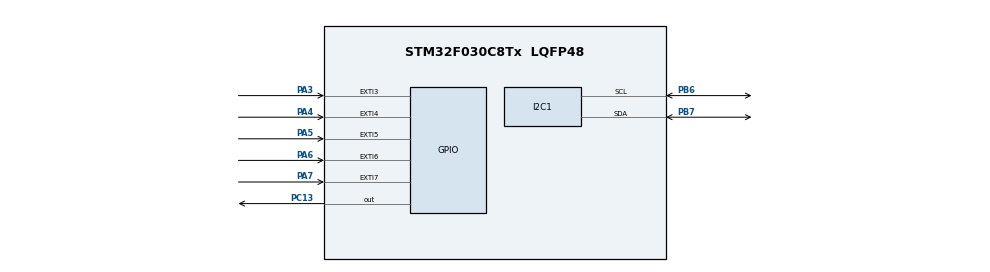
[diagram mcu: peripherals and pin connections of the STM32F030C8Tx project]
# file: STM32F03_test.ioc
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I2C1.Timing=0x00201D2B
Mcu.Family=STM32F0
Mcu.Name=STM32F030C8Tx
Mcu.Package=LQFP48
NVIC.EXTI2_3_IRQn=true\:0\:0\:false\:false\:true\:true\:true\:true
NVIC.EXTI4_15_IRQn=true\:0\:0\:false\:false\:true\:true\:true\:true
NVIC.TIM6_IRQn=true\:0\:0\:false\:false\:true\:true\:true\:true
PA13.Mode=Serial_Wire
PA13.Signal=SYS_SWDIO
PA14.Mode=Serial_Wire
PA14.Signal=SYS_SWCLK
PA3.GPIO_ModeDefaultEXTI=GPIO_MODE_IT_FALLING
PA3.Signal=GPXTI3
PA4.GPIO_ModeDefaultEXTI=GPIO_MODE_IT_FALLING
PA4.Signal=GPXTI4
PA5.GPIO_ModeDefaultEXTI=GPIO_MODE_IT_FALLING
PA5.GPIO_PuPd=GPIO_NOPULL
PA5.Signal=GPXTI5
PA6.GPIO_ModeDefaultEXTI=GPIO_MODE_IT_FALLING
PA6.GPIO_PuPd=GPIO_NOPULL
PA6.Signal=GPXTI6
PA7.GPIO_ModeDefaultEXTI=GPIO_MODE_IT_RISING_FALLING
PA7.GPIO_PuPd=GPIO_NOPULL
PA7.Signal=GPXTI7
PB6.GPIO_Pu=GPIO_PULLUP
PB6.Mode=I2C
PB6.Signal=I2C1_SCL
PB7.GPIO_Pu=GPIO_PULLUP
PB7.Mode=I2C
PB7.Signal=I2C1_SDA
PC13.Signal=GPIO_Output
ProjectManager.HeapSize=0x200
ProjectManager.StackSize=0x400
ProjectManager.TargetToolchain=STM32CubeIDE
TIM6.AutoReloadPreload=TIM_AUTORELOAD_PRELOAD_DISABLE
TIM6.Period=999
TIM6.Prescaler=7999
VP_TIM6_VS_ClockSourceINT.Mode=Enable_Timer
board=custom

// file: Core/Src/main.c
/* USER CODE BEGIN Header */
/**
  ******************************************************************************
  * @file           : main.c
  * @brief          : Main program body
  ******************************************************************************
  * @attention
  *
  * Copyright (c) 2025 STMicroelectronics.
  * All rights reserved.
  *
  * This software is licensed under terms that can be found in the LICENSE file
  * in the root directory of this software component.
  * If no LICENSE file comes with this software, it is provided AS-IS.
  *
  ******************************************************************************
  */
/* USER CODE END Header */
#include "main.h"

/* USER CODE BEGIN PTD */
typedef enum {CONFIG, READYTOPLAY, PLAY, FINISH} gameStatus_TypeDef;
typedef enum {LEFT, RIGHT} gamePlayer_TypeDef;
typedef enum {ColLeftMin = 3, ColLeftSec = 6, ColRightMin = 10, ColRightSec = 13} CursorCol_TypeDef;

/* USER CODE END PTD */

/* USER CODE BEGIN PD */
#define DEBOUNCE_MS 10 // ms

/* USER CODE END PD */

I2C_HandleTypeDef hi2c1;

TIM_HandleTypeDef htim6;

/* USER CODE BEGIN PV */
static uint8_t LCD_ADR = 0x3E << 1;

gameStatus_TypeDef gameStatus = CONFIG;
gamePlayer_TypeDef gamePlayer = LEFT;
CursorCol_TypeDef cursorCol = ColLeftMin;

 int minLeft = 5;
 int secLeft = 0;

 int minRight = 5;
 int secRight = 0;

 int timeLeft;
 int timeRight;

 uint8_t textLCD[] =            "  00:00  00:00  ";
 uint8_t textLCDConfig[] = 		"  Adjust time   ";
 uint8_t textLCDReadytoPlay[] = " Ready to play  ";
 uint8_t textLCDPlaying[] = 	"    Playing     ";

 uint8_t textLCDWinL[] =        "  Won    Lost   ";
 uint8_t textLCDWinR[] =        "  Lost   Won    ";

char temp[5];

/* USER CODE END PV */

void SystemClock_Config(void);
static void MX_GPIO_Init(void);
static void MX_I2C1_Init(void);
static void MX_TIM6_Init(void);
/* USER CODE BEGIN PFP */
void LCDInit(void);
void LCDInitConfig(void);

void LCDClear(void);
void LCDSetCursor(uint8_t col, uint8_t row);
void LCDPrintStr(uint8_t *str, uint8_t len);
void LCDBlinkOn(void);
void LCDBlinkOff(void);

/* USER CODE END PFP */

int main(void)
{

  /* MCU Configuration--------------------------------------------------------*/

  /* Reset of all peripherals, Initializes the Flash interface and the Systick. */
  HAL_Init();

  /* Configure the system clock */
  SystemClock_Config();

  /* Initialize all configured peripherals */
  MX_GPIO_Init();
  MX_I2C1_Init();
  MX_TIM6_Init();

  /* Infinite loop */
  /* USER CODE BEGIN WHILE */

  timeLeft = minLeft*60 + secLeft;
  timeRight = minRight*60 + secRight;

  HAL_TIM_Base_Start_IT(&htim6);

  LCDInit();
  LCDSetCursor(cursorCol, 0);

  while (1)
  {
	//HAL_GPIO_TogglePin(GPIOC, GPIO_PIN_13);
	//HAL_Delay(1000);

	if(gameStatus == CONFIG){
		timeLeft = minLeft*60 + secLeft;
		timeRight = minRight*60 + secRight;
	}

	sprintf(textLCD, "  %02d:%02d  %02d:%02d  ", timeLeft / 60, timeLeft % 60, timeRight / 60, timeRight % 60);
	//memcpy(&textLCD[2], temp, 5);

	//sprintf(temp, "%02d:%02d", timeRight / 60, timeRight % 60);
	//memcpy(&textLCD[9], temp, 5);

	  LCDClear();
	  LCDInit();

	  LCDSetCursor(0, 0);
	  LCDPrintStr(textLCD, 16);

	  if(gameStatus == READYTOPLAY){
		  LCDSetCursor(0, 1);
		  LCDPrintStr(textLCDReadytoPlay, 16);
	  }

	  if(gameStatus == FINISH && timeLeft == 0 && timeRight != 0){
		  LCDSetCursor(0, 1);
		  LCDPrintStr(textLCDWinR, 16);
	  }

	  if(gameStatus == FINISH && timeRight == 0 && timeLeft != 0){
		  LCDSetCursor(0, 1);
		  LCDPrintStr(textLCDWinL, 16);
	  }

	  if(gameStatus == CONFIG){
		  LCDSetCursor(0, 1);
		  LCDPrintStr(textLCDConfig, 16);
	  }

	  if(gameStatus == PLAY){
		  LCDSetCursor(0, 1);
		  LCDPrintStr(textLCDPlaying, 16);
	  }

	  if(gameStatus == CONFIG) LCDBlinkOn();
	  	  else LCDBlinkOff();

	  LCDSetCursor(cursorCol, 0);

	  HAL_Delay(500);

    /* USER CODE END WHILE */

  }
}

void SystemClock_Config(void)
{
  RCC_OscInitTypeDef RCC_OscInitStruct = {0};
  RCC_ClkInitTypeDef RCC_ClkInitStruct = {0};
  RCC_PeriphCLKInitTypeDef PeriphClkInit = {0};

  /** Initializes the RCC Oscillators according to the specified parameters
  * in the RCC_OscInitTypeDef structure.
  */
  RCC_OscInitStruct.OscillatorType = RCC_OSCILLATORTYPE_HSI;
  RCC_OscInitStruct.HSIState = RCC_HSI_ON;
  RCC_OscInitStruct.HSICalibrationValue = RCC_HSICALIBRATION_DEFAULT;
  RCC_OscInitStruct.PLL.PLLState = RCC_PLL_NONE;
  if (HAL_RCC_OscConfig(&RCC_OscInitStruct) != HAL_OK)
  {
    Error_Handler();
  }

  /** Initializes the CPU, AHB and APB buses clocks
  */
  RCC_ClkInitStruct.ClockType = RCC_CLOCKTYPE_HCLK|RCC_CLOCKTYPE_SYSCLK
                              |RCC_CLOCKTYPE_PCLK1;
  RCC_ClkInitStruct.SYSCLKSource = RCC_SYSCLKSOURCE_HSI;
  RCC_ClkInitStruct.AHBCLKDivider = RCC_SYSCLK_DIV1;
  RCC_ClkInitStruct.APB1CLKDivider = RCC_HCLK_DIV1;

  if (HAL_RCC_ClockConfig(&RCC_ClkInitStruct, FLASH_LATENCY_0) != HAL_OK)
  {
    Error_Handler();
  }
  PeriphClkInit.PeriphClockSelection = RCC_PERIPHCLK_I2C1;
  PeriphClkInit.I2c1ClockSelection = RCC_I2C1CLKSOURCE_HSI;
  if (HAL_RCCEx_PeriphCLKConfig(&PeriphClkInit) != HAL_OK)
  {
    Error_Handler();
  }
}

static void MX_I2C1_Init(void)
{

  hi2c1.Instance = I2C1;
  hi2c1.Init.Timing = 0x00201D2B;
  hi2c1.Init.OwnAddress1 = 0;
  hi2c1.Init.AddressingMode = I2C_ADDRESSINGMODE_7BIT;
  hi2c1.Init.DualAddressMode = I2C_DUALADDRESS_DISABLE;
  hi2c1.Init.OwnAddress2 = 0;
  hi2c1.Init.OwnAddress2Masks = I2C_OA2_NOMASK;
  hi2c1.Init.GeneralCallMode = I2C_GENERALCALL_DISABLE;
  hi2c1.Init.NoStretchMode = I2C_NOSTRETCH_DISABLE;
  if (HAL_I2C_Init(&hi2c1) != HAL_OK)
  {
    Error_Handler();
  }

  /** Configure Analogue filter
  */
  if (HAL_I2CEx_ConfigAnalogFilter(&hi2c1, I2C_ANALOGFILTER_ENABLE) != HAL_OK)
  {
    Error_Handler();
  }

  /** Configure Digital filter
  */
  if (HAL_I2CEx_ConfigDigitalFilter(&hi2c1, 0) != HAL_OK)
  {
    Error_Handler();
  }

}

static void MX_TIM6_Init(void)
{

  htim6.Instance = TIM6;
  htim6.Init.Prescaler = 7999;
  htim6.Init.CounterMode = TIM_COUNTERMODE_UP;
  htim6.Init.Period = 999;
  htim6.Init.AutoReloadPreload = TIM_AUTORELOAD_PRELOAD_DISABLE;
  if (HAL_TIM_Base_Init(&htim6) != HAL_OK)
  {
    Error_Handler();
  }

}

static void MX_GPIO_Init(void)
{
  GPIO_InitTypeDef GPIO_InitStruct = {0};

  /* GPIO Ports Clock Enable */
  __HAL_RCC_GPIOC_CLK_ENABLE();
  __HAL_RCC_GPIOA_CLK_ENABLE();
  __HAL_RCC_GPIOB_CLK_ENABLE();

  /*Configure GPIO pin Output Level */
  HAL_GPIO_WritePin(GPIOC, GPIO_PIN_13, GPIO_PIN_RESET);

  /*Configure GPIO pin : PC13 */
  GPIO_InitStruct.Pin = GPIO_PIN_13;
  GPIO_InitStruct.Mode = GPIO_MODE_OUTPUT_PP;
  GPIO_InitStruct.Pull = GPIO_NOPULL;
  GPIO_InitStruct.Speed = GPIO_SPEED_FREQ_LOW;
  HAL_GPIO_Init(GPIOC, &GPIO_InitStruct);

  /*Configure GPIO pins : PA3 PA4 PA5 PA6 */
  GPIO_InitStruct.Pin = GPIO_PIN_3|GPIO_PIN_4|GPIO_PIN_5|GPIO_PIN_6;
  GPIO_InitStruct.Mode = GPIO_MODE_IT_FALLING;
  GPIO_InitStruct.Pull = GPIO_NOPULL;
  HAL_GPIO_Init(GPIOA, &GPIO_InitStruct);

  /*Configure GPIO pin : PA7 */
  GPIO_InitStruct.Pin = GPIO_PIN_7;
  GPIO_InitStruct.Mode = GPIO_MODE_IT_RISING_FALLING;
  GPIO_InitStruct.Pull = GPIO_NOPULL;
  HAL_GPIO_Init(GPIOA, &GPIO_InitStruct);

  /* EXTI interrupt init*/
  HAL_NVIC_SetPriority(EXTI2_3_IRQn, 0, 0);
  HAL_NVIC_EnableIRQ(EXTI2_3_IRQn);

  HAL_NVIC_SetPriority(EXTI4_15_IRQn, 0, 0);
  HAL_NVIC_EnableIRQ(EXTI4_15_IRQn);

}

/* USER CODE BEGIN 4 */
void LCDInit(){
	uint8_t arr[2];
	arr[0]=0;

	arr[1]=0xC;
	HAL_I2C_Master_Transmit(&hi2c1,LCD_ADR,arr,2,1000); //Sending in Blocking mode

	arr[1]=0x3F;
	HAL_I2C_Master_Transmit(&hi2c1,LCD_ADR,arr,2,1000); //Sending in Blocking mode

}

void LCDInitConfig(){
	uint8_t arr[2];
	arr[0]=0;

	arr[1]=0xF;
	HAL_I2C_Master_Transmit(&hi2c1,LCD_ADR,arr,2,1000); //Sending in Blocking mode

	arr[1]=0x3F;
	HAL_I2C_Master_Transmit(&hi2c1,LCD_ADR,arr,2,1000); //Sending in Blocking mode

}

void LCDBlinkOn(void) {
    uint8_t arr[2];
    arr[0] = 0x00;    // control byte: command
    arr[1] = 0x0E;    // Display ON, Cursor ON, Blink ON
    HAL_I2C_Master_Transmit(&hi2c1, LCD_ADR, arr, 2, 1000);
}

void LCDBlinkOff(void) {
    uint8_t arr[2];
    arr[0] = 0x00;    // command
    arr[1] = 0x0C;    // Display ON, Cursor OFF, Blink OFF
    HAL_I2C_Master_Transmit(&hi2c1, LCD_ADR, arr, 2, 1000);
}

void LCDClear(void){
	  uint8_t arr[2];
		arr[0]=0x0;
		arr[1]=0x1;
		HAL_I2C_Master_Transmit(&hi2c1,LCD_ADR,arr,2,1000); //Sending in Blocking mode

}

void LCDSetCursor(uint8_t col, uint8_t row) {

    uint8_t arr[2];
    col = (row == 0 ? col | 0x80 : col | 0xc0);
		arr[0]=0x80;
		arr[1]=col;
		HAL_I2C_Master_Transmit(&hi2c1,LCD_ADR,arr,2,1000); //Sending in Blocking mode
}

void LCDPrintStr(uint8_t *str, uint8_t len){

	uint8_t arr[2];
	uint8_t i;
	arr[0]=0x40;

	for(i=0;i<len;i++){
		arr[1]=str[i];
		HAL_I2C_Master_Transmit(&hi2c1,LCD_ADR,arr,2,1000); //Sending in Blocking mode
	}
}

void HAL_TIM_PeriodElapsedCallback(TIM_HandleTypeDef *htim)
{

	if(htim->Instance == TIM6){

		uint16_t suma = 0;

		for(uint16_t i = 0;i < 1000;i++)
		{
			suma+=(HAL_GPIO_ReadPin(GPIOA, GPIO_PIN_7)==GPIO_PIN_SET) ? 0 : 1;
		}

		if(suma > 900)
			gamePlayer = RIGHT;
		else
			gamePlayer = LEFT;

		if(gameStatus == PLAY){
			if(gamePlayer == LEFT)timeLeft --;
				else(timeRight --);

			if(timeLeft == 0 || timeRight == 0) gameStatus = FINISH;

		}

	}
}

void HAL_GPIO_EXTI_Callback(uint16_t GPIO_Pin) {

	static uint32_t last_tick7 = 0;
	static uint32_t last_tick6 = 0;
	static uint32_t last_tick5 = 0;
	static uint32_t last_tick4 = 0;
	static uint32_t last_tick3 = 0;

    if (GPIO_Pin == GPIO_PIN_6 && gameStatus == CONFIG) {
    	if (HAL_GetTick() - last_tick6 > DEBOUNCE_MS) {

    		last_tick6 = HAL_GetTick();

    		if(cursorCol == ColLeftMin) minLeft++;
    		if (minLeft == 61) minLeft = 0;

    		if(cursorCol == ColLeftSec) secLeft++;
    		if(secLeft == 60) secLeft = 0;

    		if(cursorCol == ColRightMin) minRight++;
    		if(minRight == 61) minRight = 0;

    		if(cursorCol == ColRightSec) secRight++;
    		if(secRight == 60) secRight = 0;

    		/*HAL_GPIO_TogglePin(GPIOC, GPIO_PIN_13);*/

    	 }

       }

    if (GPIO_Pin == GPIO_PIN_5 && gameStatus == CONFIG) {
       	if (HAL_GetTick() - last_tick5 > DEBOUNCE_MS) {

       		last_tick5 = HAL_GetTick();

       		if(cursorCol == ColLeftMin) minLeft--;
       		if (minLeft == -1) minLeft = 60;

       		if(cursorCol == ColLeftSec) secLeft--;
       		if(secLeft == -1) secLeft = 59;

       		if(cursorCol == ColRightMin) minRight--;
       		if(minRight == -1) minRight = 60;

       		if(cursorCol == ColRightSec) secRight--;
       		if(secRight == -1) secRight = 59;

       	 }

      }

    if (GPIO_Pin == GPIO_PIN_4 && gameStatus == CONFIG) {
       	if (HAL_GetTick() - last_tick4 > DEBOUNCE_MS) {

       		last_tick4 = HAL_GetTick();

       		int c = cursorCol;

       		switch(c) {
       		    case ColLeftMin:  cursorCol = ColLeftSec;   break;
       		    case ColLeftSec:  cursorCol = ColRightMin;  break;
       		    case ColRightMin: cursorCol = ColRightSec;  break;
       		    case ColRightSec: cursorCol = ColLeftMin;
       		}

       	}
    }

    if (GPIO_Pin == GPIO_PIN_3) {
       	if (HAL_GetTick() - last_tick3 > DEBOUNCE_MS) {

       		last_tick3 = HAL_GetTick();

       		//HAL_GPIO_TogglePin(GPIOC, GPIO_PIN_13);

       		if(HAL_GPIO_ReadPin(GPIOA, GPIO_PIN_3) == GPIO_PIN_RESET)
       		{
       			if(gameStatus == CONFIG) gameStatus = READYTOPLAY;
       			if(gameStatus == PLAY || gameStatus == FINISH) gameStatus = CONFIG;
       		}
       	}
    }

    if (GPIO_Pin == GPIO_PIN_7) {
       	if (HAL_GetTick() - last_tick7 > DEBOUNCE_MS) {

       		last_tick7 = HAL_GetTick();

       		if(gameStatus == READYTOPLAY) gameStatus = PLAY;

       	}

    }

}
/* USER CODE END 4 */

void Error_Handler(void)
{
  __disable_irq();
  while (1)
  {
  }
}
